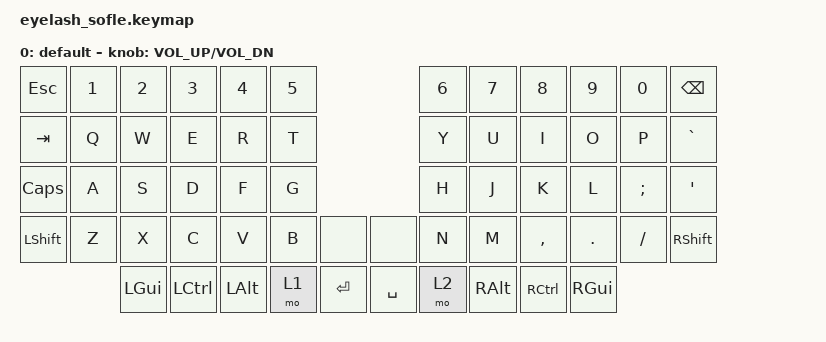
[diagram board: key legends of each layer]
#include <behaviors.dtsi>
#include <dt-bindings/zmk/bt.h>
#include <dt-bindings/zmk/keys.h>
#include <dt-bindings/zmk/mouse.h>
#include <dt-bindings/zmk/outputs.h>
#include <dt-bindings/zmk/rgb.h>

#include <input/processors.dtsi>

/*

   &mmv_input_listener {
       input-processors = <&zip_xy_scaler 2 1>;
   };

   &msc_input_listener {
       input-processors = <&zip_xy_scaler 2 1>;
   };

 */

#define ZMK_MOUSE_DEFAULT_MOVE_VAL 1200  // 600
#define ZMK_MOUSE_DEFAULT_SCRL_VAL 20    // 10


/ {
    behaviors {
        mmv {
            acceleration-exponent = <1>;      // 1
            time-to-max-speed-ms = <900>;    // 40
            delay-ms = <0>;                   // 0
        };

        msc {
            acceleration-exponent = <1>;      // 0
            time-to-max-speed-ms = <400>;      // 500
            delay-ms = <0>;                   //   10
        };
    };

    scroll_encoder: scroll_encoder {
        compatible = "zmk,behavior-sensor-rotate";
        #sensor-binding-cells = <0>;
        bindings = <&msc SCRL_DOWN>, <&msc SCRL_UP>;

        tap-ms = <30>;
    };

    keymap {
        compatible = "zmk,keymap";

        layer0 {
            bindings = <
&kp ESCAPE    &kp N1  &kp N2    &kp N3     &kp N4        &kp N5                        &kp N6  &kp N7         &kp N8             &kp N9         &kp N0    &kp BACKSPACE
&kp TAB       &kp Q   &kp W     &kp E      &kp R         &kp T                         &kp Y   &kp U          &kp I              &kp O          &kp P     &kp GRAVE
&kp CAPSLOCK  &kp A   &kp S     &kp D      &kp F         &kp G                         &kp H   &kp J          &kp K              &kp L          &kp SEMI  &kp SQT
&kp LSHFT     &kp Z   &kp X     &kp C      &kp V         &kp B   &none      &none      &kp N   &kp M          &kp COMMA          &kp DOT        &kp FSLH  &kp RSHFT
                      &kp LGUI  &kp LCTRL  &kp LEFT_ALT  &mo 1   &kp RET    &kp SPACE  &mo 2   &kp RIGHT_ALT  &kp RIGHT_CONTROL  &kp RIGHT_GUI
            >;

            sensor-bindings = <&inc_dec_kp C_VOLUME_UP C_VOL_DN>;
            display-name = "default";
        };

            bindings = <
&trans  &kp F1     &kp F2     &kp F3       &kp F4    &kp F5                       &kp F6     &kp F7    &kp F8           &kp F9     &kp F10   &kp F11
&trans  &kp N1     &kp N2     &kp N3       &kp N4    &kp N5                       &kp N6     &kp N7    &kp N8           &kp N9     &kp N0    &kp F12
&trans  &kp EXCL   &kp AT     &kp HASH     &kp DLLR  &kp PRCNT                    &kp CARET  &kp AMPS  &kp KP_MULTIPLY  &kp LPAR   &kp RPAR  &kp PIPE
&trans  &kp EQUAL  &kp MINUS  &kp KP_PLUS  &kp LBRC  &kp RBRC   &trans    &trans  &kp LBKT   &kp RBKT  &kp SEMI         &kp COLON  &kp BSLH  &trans
                   &trans     &trans       &trans    &trans     &trans    &trans  &trans     &trans    &trans           &trans
            >;

            display-name = "lower";
            sensor-bindings = <&scroll_encoder>;
        };

        layer_2 {
            bindings = <
&trans  &bt BT_SEL 0  &bt BT_SEL 1  &bt BT_SEL 2  &bt BT_SEL 3  &bt BT_SEL 4                    &none          &none     &none     &none      &none  &trans
&trans  &kp INS       &kp PSCRN     &kp K_CMENU   &trans        &trans                          &kp PG_UP      &kp HOME  &kp UP    &kp END    &none  &none
&trans  &kp LALT      &kp LCTRL     &kp LSHFT     &trans        &kp CLCK                        &kp PAGE_DOWN  &kp DOWN  &kp DOWN  &kp RIGHT  &none  &none
&trans  &kp K_UNDO    &kp K_CUT     &kp K_COPY    &kp K_PASTE   &trans        &trans    &trans  &none          &none     &none     &none      &none  &trans
                      &trans        &trans        &trans        &trans        &trans    &trans  &trans         &trans    &trans    &trans
            >;

            display-name = "raise";
            sensor-bindings = <&scroll_encoder>;
        };
    };
};
